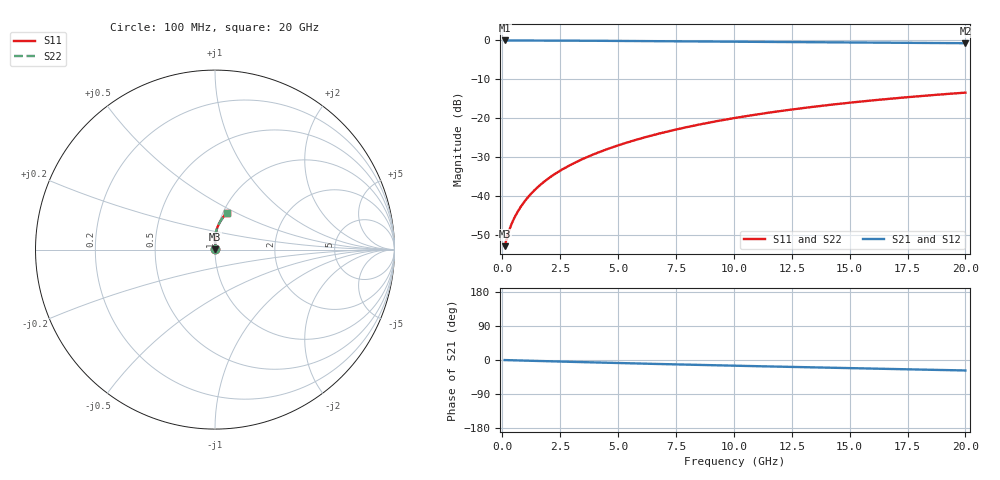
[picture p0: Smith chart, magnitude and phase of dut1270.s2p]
! Touchstone file exported from HFSS 2024.1.0
!  File:  C:/UserFiles/LocalFiles/RDL_TSV_Batchsim/temp_RDL_top_1270_1780242154.aedt
!  Generated:  11:44:39 PM May 31, 2026
!  Design:  RDL_top
!  Project:  temp_RDL_top_1270_1780242154
!  Setup:  Setup1
!  Solution:  Sweep
! Variables:
!  dtsv = 10.80580581um
!  hbump = 3um
!  htsv = 68.84um
!  ldown = 100um
!  lrdl = 434.39um
!  p = 40
!  p1 = 40.34um
!  rhole = 1um
!  t = 450um
!  tdown = 3.915915916um
!  trdl = 3.55um
!  wdown = 15.38538539um
!  wrdl = 24.59um
# GHz S MA R 50.000000
! Terminal data exported
! Port[1] = Box2_T1
! Port[2] = Box2_T2
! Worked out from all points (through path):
!   200 points, 100 MHz to 20 GHz, reference 50 ohm
!   highest |S21| = -0.02 dB at 100 MHz (marker M1); lowest = -0.7 dB at 20 GHz (marker M2)
!   group delay of S21, straight-line fit = 3.79 ps
!   lowest |S11| = -53.0 dB at 100 MHz (marker M3), VSWR 1.00, Z = 50.2 + j0.103 ohm
!   |S11| at or under -10 dB: start of sweep to end of sweep
!   |S22| runs from -53.0 to -13.4 dB; largest |S21 - S12| = 3.4e-15
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0.1  0.00225 27.1  0.998 -0.2  0.998 -0.2  0.00225 27.1
! Gamma 0 0 0 0
! Port Impedance 50 0 50 0
0.2  0.002907 42.6  0.9978 -0.4  0.9978 -0.4  0.002907 42.6
0.3  0.003627 51.2  0.9977 -0.5  0.9977 -0.5  0.003627 51.2
0.4  0.004342 56.9  0.9975 -0.7  0.9975 -0.7  0.004342 56.9
0.5  0.005054 61.2  0.9974 -0.8  0.9974 -0.8  0.005055 61.2
0.6  0.005773 64.7  0.9972 -1.0  0.9972 -1.0  0.005773 64.6
0.8  0.007241 69.9  0.997 -1.3  0.997 -1.3  0.007242 69.9
1  0.008755 73.6  0.9967 -1.7  0.9967 -1.7  0.008756 73.6
1.2  0.01031 76.5  0.9964 -2.0  0.9964 -2.0  0.01031 76.4
1.7  0.01432 81.1  0.9956 -2.8  0.9956 -2.8  0.01432 81.1
2.2  0.01849 84.0  0.9945 -3.6  0.9945 -3.6  0.01849 84.0
2.8  0.02369 86.3  0.9928 -4.6  0.9928 -4.6  0.02369 86.3
3.5  0.03002 88.0  0.9905 -5.7  0.9905 -5.7  0.03002 87.9
4.2  0.03665 89.0  0.9879 -6.8  0.9879 -6.8  0.03663 89.0
5  0.04456 89.6  0.9847 -8.0  0.9847 -8.0  0.04454 89.6
6.8  0.06355 89.6  0.9766 -10.6  0.9766 -10.6  0.0635 89.5
8.4  0.08143 88.4  0.9692 -12.8  0.9692 -12.8  0.08136 88.3
10.1  0.101 86.5  0.9614 -15.1  0.9614 -15.1  0.1009 86.4
11.7  0.1197 84.4  0.9543 -17.2  0.9543 -17.2  0.1195 84.3
13.4  0.1394 82.0  0.9469 -19.4  0.9469 -19.4  0.1393 81.9
16.7  0.177 77.1  0.9333 -23.6  0.9333 -23.6  0.1768 77.0
20  0.2128 72.3  0.92 -27.6  0.92 -27.6  0.2126 72.2
